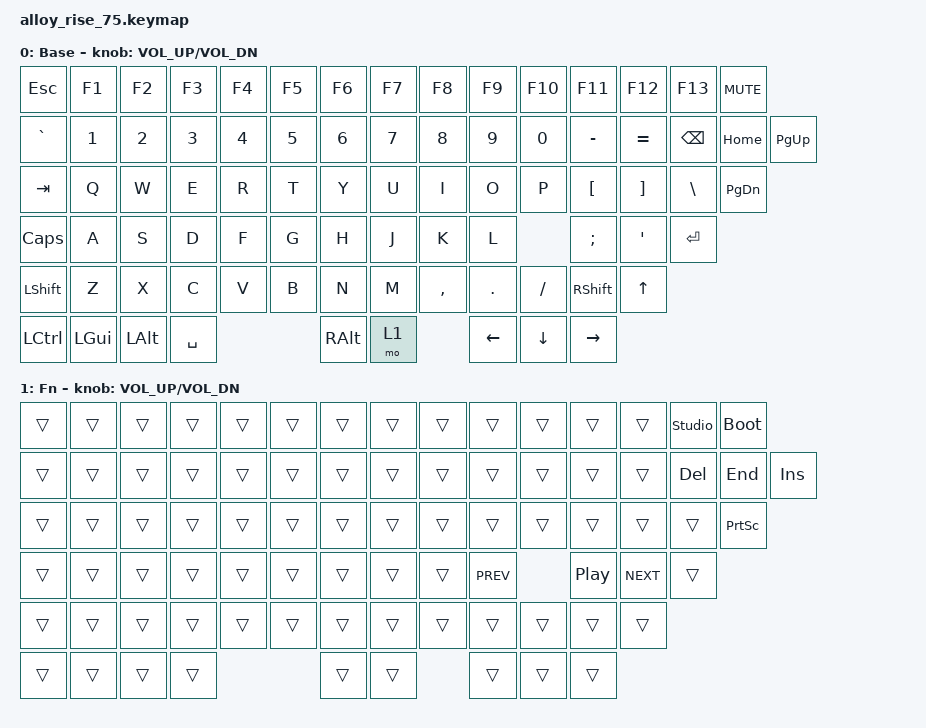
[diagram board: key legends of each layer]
#include <behaviors.dtsi>
#include <dt-bindings/zmk/keys.h>
#include <dt-bindings/zmk/bt.h>
#include <dt-bindings/zmk/outputs.h>

/ {
    keymap {
        compatible = "zmk,keymap";

        base {
            display-name = "Base";
            sensor-bindings = <&inc_dec_kp C_VOL_UP C_VOL_DN>;
            
            bindings = <
                &kp ESC &kp F1  &kp F2  &kp F3  &kp F4  &kp F5  &kp F6  &kp F7  &kp F8  &kp F9  &kp F10 &kp F11 &kp F12 &kp F13 &kp C_MUTE
                &kp GRAVE &kp N1 &kp N2 &kp N3 &kp N4 &kp N5 &kp N6 &kp N7 &kp N8 &kp N9 &kp N0 &kp MINUS &kp EQUAL &kp BSPC &kp HOME &kp PG_UP
                &kp TAB &kp Q &kp W &kp E &kp R &kp T &kp Y &kp U &kp I &kp O &kp P &kp LBKT &kp RBKT &kp BSLH &kp PG_DN
                &kp CLCK &kp A &kp S &kp D &kp F &kp G &kp H &kp J &kp K &kp L &kp SEMI &kp SQT &kp RET
                &kp LSHFT &kp Z &kp X &kp C &kp V &kp B &kp N &kp M &kp COMMA &kp DOT &kp FSLH &kp RSHFT &kp UP
                &kp LCTRL &kp LGUI &kp LALT &kp SPACE                  &kp RALT &mo 1             &kp LEFT &kp DOWN &kp RIGHT
            >;
        };

        fn {
            display-name = "Fn";
            sensor-bindings = <&inc_dec_kp C_VOL_UP C_VOL_DN>;
            
            bindings = <
                &trans &trans &trans &trans &trans &trans &trans &trans &trans &trans &trans &trans &trans &studio_unlock &bootloader
                &trans &trans &trans &trans &trans &trans &trans &trans &trans &trans &trans &trans &trans &kp DELETE &kp END &kp INS
                &trans &trans &trans &trans &trans &trans &trans &trans &trans &trans &trans &trans &trans &trans &kp PSCRN
                &trans &trans &trans &trans &trans &trans &trans &trans &trans &kp C_PREV &kp C_PP &kp C_NEXT &trans
                &trans &trans &trans &trans &trans &trans &trans &trans &trans &trans &trans &trans &trans
                &trans &trans &trans &trans                &trans &trans        &trans &trans &trans
            >;
        };

        extra1 {
            display-name = "Extra 1";
            status = "reserved";
        };

        extra2 {
            display-name = "Extra 2";
            status = "reserved";
        };
    };
};
